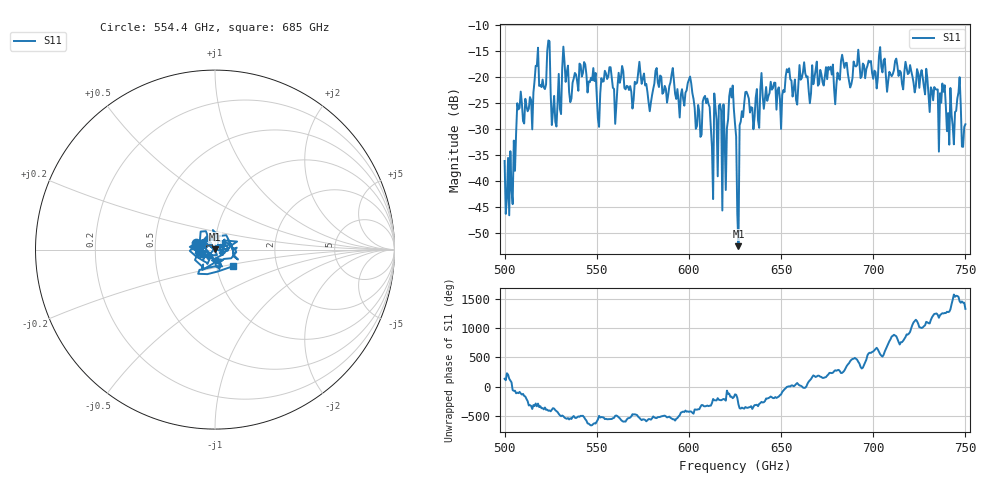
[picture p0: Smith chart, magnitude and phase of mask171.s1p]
!Created with skrf (http://scikit-rf.org).
# GHz S MA R 50.0
!freq magS11 angS11
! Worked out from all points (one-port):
!   401 points, 500 GHz to 750 GHz, reference 50 ohm
!   lowest |S11| = -52.4 dB at 626.9 GHz (marker M1), VSWR 1.00, Z = 50.1 + j0.192 ohm
!   |S11| at or under -10 dB: start of sweep to end of sweep
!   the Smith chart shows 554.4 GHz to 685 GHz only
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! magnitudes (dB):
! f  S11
! 500 GHz  -36.1
! 503.8 GHz  -41.5
! 508.1 GHz  -25.9
! 513.8 GHz  -23.8
! 516.9 GHz  -17.8
! 523.8 GHz  -12.9
! 526.9 GHz  -23.6
! 531.2 GHz  -18.3
! 542.5 GHz  -19.2
! 551.2 GHz  -29.5
! 562.5 GHz  -21.1
! 593.8 GHz  -22.3
! 600.6 GHz  -19.9
! 605.6 GHz  -26.6
! 609.4 GHz  -25.0
! 611.9 GHz  -29.4
! 616.2 GHz  -25.5
! 619.4 GHz  -31.3
! 623.1 GHz  -23.9
! 625 GHz  -28.9
! 626.9 GHz  -52.4
! 631.2 GHz  -22.8
! 656.2 GHz  -23.7
! 687.5 GHz  -22.0
! 718.8 GHz  -19.4
! 742.5 GHz  -27.2
! 746.2 GHz  -22.9
! 750 GHz  -29.0
